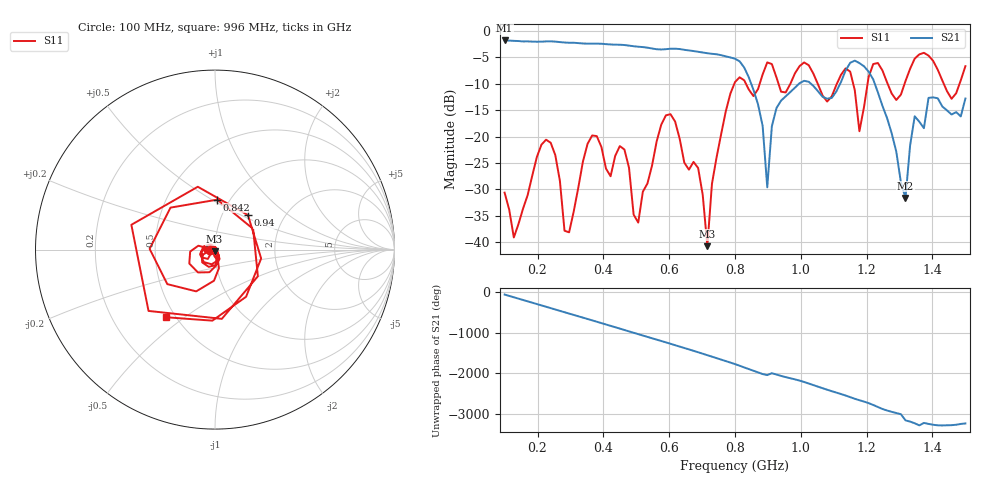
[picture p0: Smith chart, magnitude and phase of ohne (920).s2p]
! NanoVNA-App
! Date: 2025-09-25 14:27:57
! Start: 100MHz Stop: 1,5GHz Points: 101
! S-Parameter data: F S11 S21 S12 S22
# Hz S RI R 50
!  Frequency  S11_Real  S11_Imag  S21_Real  S21_Imag  S12_Real  S12_Imag  S22_Real  S22_Imag
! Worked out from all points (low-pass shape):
!   101 points, 100 MHz to 1.5 GHz, reference 50 ohm
!   highest |S21| = -1.79 dB at 100 MHz (marker M1); lowest = -31.6 dB at 1.318 GHz (marker M2)
!   |S21| within 3 dB of the highest: start of sweep to 771.2 MHz
!   lowest |S11| = -40.8 dB at 716 MHz (marker M3), VSWR 1.02, Z = 49.7 - j0.868 ohm
!   |S11| at or under -10 dB: start of sweep to 798 MHz; 833.2 MHz to 875.1 MHz (41.89 MHz wide, 4.9 % of centre); 1.051 GHz to 1.11 GHz (58.15 MHz wide, 5.38 % of centre) (the widest 3 of 7)
!   S12 and S22 are empty: the file has one direction only
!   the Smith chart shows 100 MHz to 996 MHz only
!   S11 on the Smith chart (normalised r, x): 100 MHz: 0.94, -0.01; 842 MHz: 0.88, +0.53; 940 MHz: 1.32, +0.55; 996 MHz: 0.45, -0.43
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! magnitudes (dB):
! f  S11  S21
! 100 MHz  -30.6  -1.8
! 128 MHz  -39.1  -1.9
! 226 MHz  -20.6  -2.0
! 296 MHz  -38.1  -2.2
! 338 MHz  -24.7  -2.4
! 464 MHz  -22.5  -2.7
! 506 MHz  -36.3  -3.0
! 576 MHz  -17.7  -3.5
! 688 MHz  -26.0  -3.9
! 716 MHz  -40.8  -4.2
! 800 MHz  -9.7  -5.2
! 842 MHz  -11.1  -8.8
! 898 MHz  -6.0  -29.6
! 940 MHz  -11.5  -13.2
! 996 MHz  -6.7  -9.9
! 1.038 GHz  -8.1  -10.4
! 1.178 GHz  -19.0  -6.1
! 1.22 GHz  -6.3  -9.2
! 1.276 GHz  -11.8  -19.4
! 1.318 GHz  -9.5  -31.6
! 1.346 GHz  -5.2  -16.2
! 1.5 GHz  -6.7  -12.8
